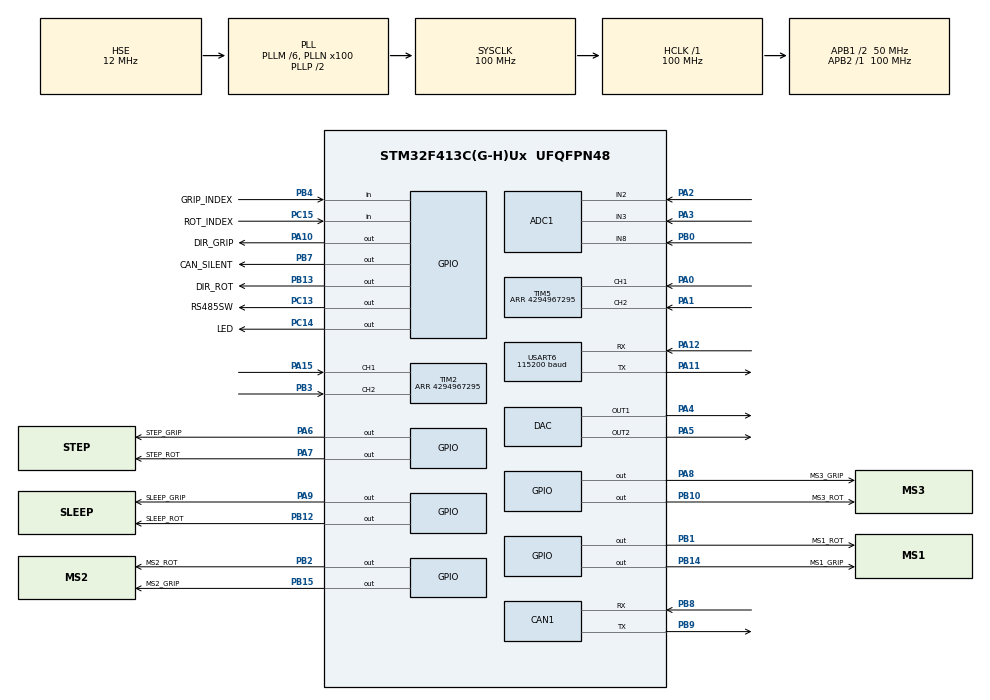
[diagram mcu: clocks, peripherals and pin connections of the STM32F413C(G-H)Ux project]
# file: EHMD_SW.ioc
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ADC1.Channel-0\#ChannelRegularConversion=ADC_CHANNEL_2
ADC1.Channel-1\#ChannelRegularConversion=ADC_CHANNEL_3
ADC1.Channel-2\#ChannelRegularConversion=ADC_CHANNEL_8
ADC1.Channel-3\#ChannelRegularConversion=ADC_CHANNEL_TEMPSENSOR
ADC1.ClockPrescaler=ADC_CLOCK_SYNC_PCLK_DIV8
ADC1.ContinuousConvMode=ENABLE
ADC1.DMAContinuousRequests=ENABLE
ADC1.NbrOfConversion=4
ADC1.NbrOfConversionFlag=1
ADC1.Rank-0\#ChannelRegularConversion=1
ADC1.Rank-1\#ChannelRegularConversion=2
ADC1.Rank-2\#ChannelRegularConversion=3
ADC1.Rank-3\#ChannelRegularConversion=4
ADC1.SamplingTime-0\#ChannelRegularConversion=ADC_SAMPLETIME_480CYCLES
ADC1.SamplingTime-1\#ChannelRegularConversion=ADC_SAMPLETIME_480CYCLES
ADC1.SamplingTime-2\#ChannelRegularConversion=ADC_SAMPLETIME_480CYCLES
ADC1.SamplingTime-3\#ChannelRegularConversion=ADC_SAMPLETIME_480CYCLES
ADC1.ScanConvMode=ENABLE
ADC1.master=1
CAN1.BS1=CAN_BS1_16TQ
CAN1.BS2=CAN_BS2_2TQ
CAN1.CalculateTimeQuantum=320.0
CAN1.SJW=CAN_SJW_2TQ
Dma.ADC1.0.Direction=DMA_PERIPH_TO_MEMORY
Dma.ADC1.0.FIFOMode=DMA_FIFOMODE_DISABLE
Dma.ADC1.0.Instance=DMA2_Stream0
Dma.ADC1.0.MemDataAlignment=DMA_MDATAALIGN_HALFWORD
Dma.ADC1.0.MemInc=DMA_MINC_ENABLE
Dma.ADC1.0.Mode=DMA_CIRCULAR
Dma.ADC1.0.PeriphDataAlignment=DMA_PDATAALIGN_HALFWORD
Dma.ADC1.0.PeriphInc=DMA_PINC_DISABLE
Dma.ADC1.0.Priority=DMA_PRIORITY_LOW
Dma.Request0=ADC1
Mcu.Family=STM32F4
Mcu.Name=STM32F413C(G-H)Ux
Mcu.Package=UFQFPN48
NVIC.DMA2_Stream0_IRQn=true\:0\:0\:false\:false\:true\:false
NVIC.PriorityGroup=NVIC_PRIORITYGROUP_4
NVIC.TIM1_UP_TIM10_IRQn=true\:0\:0\:false\:false\:true\:true
NVIC.USART6_IRQn=true\:0\:0\:false\:false\:true\:true
PA0.Signal=S_TIM5_CH1
PA1.Signal=S_TIM5_CH2
PA10.GPIO_Label=DIR_GRIP
PA10.Signal=GPIO_Output
PA11.Mode=Asynchronous
PA11.Signal=USART6_TX
PA12.Mode=Asynchronous
PA12.Signal=USART6_RX
PA13.Mode=Serial_Wire
PA13.Signal=SYS_JTMS-SWDIO
PA14.Mode=Serial_Wire
PA14.Signal=SYS_JTCK-SWCLK
PA15.Signal=S_TIM2_CH1_ETR
PA2.Signal=ADCx_IN2
PA3.Signal=ADCx_IN3
PA4.Signal=COMP_DAC1_group
PA5.Signal=COMP_DAC2_group
PA6.GPIO_Label=STEP_GRIP
PA6.Signal=GPIO_Output
PA7.GPIO_Label=STEP_ROT
PA7.Signal=GPIO_Output
PA8.GPIO_Label=MS3_GRIP
PA8.Signal=GPIO_Output
PA9.GPIO_Label=SLEEP_GRIP
PA9.Signal=GPIO_Output
PB0.Signal=ADCx_IN8
PB1.GPIO_Label=MS1_ROT
PB1.Signal=GPIO_Output
PB10.GPIO_Label=MS3_ROT
PB10.Signal=GPIO_Output
PB12.GPIO_Label=SLEEP_ROT
PB12.Signal=GPIO_Output
PB13.GPIO_Label=DIR_ROT
PB13.Signal=GPIO_Output
PB14.GPIO_Label=MS1_GRIP
PB14.Signal=GPIO_Output
PB15.GPIO_Label=MS2_GRIP
PB15.Signal=GPIO_Output
PB2.GPIO_Label=MS2_ROT
PB2.Signal=GPIO_Output
PB3.Signal=S_TIM2_CH2
PB4.GPIO_Label=GRIP_INDEX
PB4.Signal=GPIO_Input
PB7.GPIO_Label=CAN_SILENT
PB7.Signal=GPIO_Output
PB8.Mode=Master
PB8.Signal=CAN1_RX
PB9.Mode=Master
PB9.Signal=CAN1_TX
PC13.GPIO_Label=RS485SW
PC13.Signal=GPIO_Output
PC14-OSC32_IN.GPIO_Label=LED
PC14-OSC32_IN.Signal=GPIO_Output
PC15-OSC32_OUT.GPIO_Label=ROT_INDEX
PC15-OSC32_OUT.Signal=GPIO_Input
PH0\ -\ OSC_IN.Mode=HSE-External-Oscillator
PH0\ -\ OSC_IN.Signal=RCC_OSC_IN
PH1\ -\ OSC_OUT.Mode=HSE-External-Oscillator
PH1\ -\ OSC_OUT.Signal=RCC_OSC_OUT
ProjectManager.HeapSize=0x200
ProjectManager.StackSize=0x400
ProjectManager.TargetToolchain=TrueSTUDIO
RCC.AHBFreq_Value=100000000
RCC.APB1CLKDivider=RCC_HCLK_DIV2
RCC.APB1Freq_Value=50000000
RCC.APB1TimFreq_Value=100000000
RCC.APB2Freq_Value=100000000
RCC.APB2TimFreq_Value=100000000
RCC.CortexFreq_Value=100000000
RCC.EnbaleCSS=true
RCC.HCLKFreq_Value=100000000
RCC.HSE_VALUE=12000000
RCC.PLLM=6
RCC.PLLN=100
RCC.PLLSourceVirtual=RCC_PLLSOURCE_HSE
RCC.SYSCLKFreq_VALUE=100000000
RCC.SYSCLKSource=RCC_SYSCLKSOURCE_PLLCLK
RCC.USBFreq_Value=100000000
RCC.VCOOutputFreq_Value=200000000
SH.ADCx_IN2.0=ADC1_IN2,IN2
SH.ADCx_IN3.0=ADC1_IN3,IN3
SH.ADCx_IN8.0=ADC1_IN8,IN8
SH.COMP_DAC1_group.0=DAC_OUT1,DAC_OUT1
SH.COMP_DAC2_group.0=DAC_OUT2,DAC_OUT2
SH.S_TIM2_CH1_ETR.0=TIM2_CH1,Encoder_Interface
SH.S_TIM2_CH2.0=TIM2_CH2,Encoder_Interface
SH.S_TIM5_CH1.0=TIM5_CH1,Encoder_Interface
SH.S_TIM5_CH2.0=TIM5_CH2,Encoder_Interface
TIM1.Period=2500
TIM1.Prescaler=2
TIM2.EncoderMode=TIM_ENCODERMODE_TI12
TIM2.Period=4294967295
TIM5.EncoderMode=TIM_ENCODERMODE_TI12
TIM5.Period=4294967295
USART6.BaudRate=115200
USART6.VirtualMode=VM_ASYNC
VP_ADC1_TempSens_Input.Mode=IN-TempSens
VP_TIM10_VS_ClockSourceINT.Mode=Enable_Timer
VP_TIM1_VS_ClockSourceINT.Mode=Internal
board=custom

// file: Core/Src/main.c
/* USER CODE BEGIN Header */
/**
  ******************************************************************************
  * @file           : main.c
  * @brief          : Main program body
  ******************************************************************************
  ** This notice applies to any and all portions of this file
  * that are not between comment pairs USER CODE BEGIN and
  * USER CODE END. Other portions of this file, whether
  * inserted by the user or by software development tools
  * are owned by their respective copyright owners.
  *
  * COPYRIGHT(c) 2019 STMicroelectronics
  *
  * Redistribution and use in source and binary forms, with or without modification,
  * are permitted provided that the following conditions are met:
  *   1. Redistributions of source code must retain the above copyright notice,
  *      this list of conditions and the following disclaimer.
  *   2. Redistributions in binary form must reproduce the above copyright notice,
  *      this list of conditions and the following disclaimer in the documentation
  *      and/or other materials provided with the distribution.
  *   3. Neither the name of STMicroelectronics nor the names of its contributors
  *      may be used to endorse or promote products derived from this software
  *      without specific prior written permission.
  *
  * THIS SOFTWARE IS PROVIDED BY THE COPYRIGHT HOLDERS AND CONTRIBUTORS "AS IS"
  * AND ANY EXPRESS OR IMPLIED WARRANTIES, INCLUDING, BUT NOT LIMITED TO, THE
  * IMPLIED WARRANTIES OF MERCHANTABILITY AND FITNESS FOR A PARTICULAR PURPOSE ARE
  * DISCLAIMED. IN NO EVENT SHALL THE COPYRIGHT HOLDER OR CONTRIBUTORS BE LIABLE
  * FOR ANY DIRECT, INDIRECT, INCIDENTAL, SPECIAL, EXEMPLARY, OR CONSEQUENTIAL
  * DAMAGES (INCLUDING, BUT NOT LIMITED TO, PROCUREMENT OF SUBSTITUTE GOODS OR
  * SERVICES; LOSS OF USE, DATA, OR PROFITS; OR BUSINESS INTERRUPTION) HOWEVER
  * CAUSED AND ON ANY THEORY OF LIABILITY, WHETHER IN CONTRACT, STRICT LIABILITY,
  * OR TORT (INCLUDING NEGLIGENCE OR OTHERWISE) ARISING IN ANY WAY OUT OF THE USE
  * OF THIS SOFTWARE, EVEN IF ADVISED OF THE POSSIBILITY OF SUCH DAMAGE.
  *
  ******************************************************************************
  */
/* USER CODE END Header */

#include "main.h"

/* USER CODE BEGIN Includes */
#include <string.h>
#include <stdio.h>

/* USER CODE END Includes */

/* USER CODE BEGIN PD */

 // double timerG = 0;

/* USER CODE END PD */

ADC_HandleTypeDef hadc1;
DMA_HandleTypeDef hdma_adc1;

CAN_HandleTypeDef hcan1;

DAC_HandleTypeDef hdac;

TIM_HandleTypeDef htim1;
TIM_HandleTypeDef htim2;
TIM_HandleTypeDef htim5;
TIM_HandleTypeDef htim10;

UART_HandleTypeDef huart6;

void SystemClock_Config(void);
static void MX_GPIO_Init(void);
static void MX_DMA_Init(void);
static void MX_CAN1_Init(void);
static void MX_USART6_UART_Init(void);
static void MX_TIM5_Init(void);
static void MX_DAC_Init(void);
static void MX_ADC1_Init(void);
static void MX_TIM1_Init(void);
static void MX_TIM10_Init(void);
static void MX_TIM2_Init(void);

/* USER CODE BEGIN 0 */

float dac1_volt = 0.5;
float dac2_volt = 0.5;
uint8_t dac1_byte;
uint8_t dac2_byte;
uint16_t index_rot = 0;
uint16_t index_grip=0;
char rxData[30];
char txData[64] = {'m', 'a', 's', 'a', 'R', 0x00 };
uint8_t rxPointer = 0;
uint8_t rxBuffer;
char rxFlag;

motor_ctx gMotor ;

uint32_t adcCnt = 0;

void HAL_UART_TxCpltCallback(UART_HandleTypeDef *huart);

static uint32_t getDiff(uint16_t* arr, int idx)
{

}

int main(void) {
	/* USER CODE BEGIN 1 */
	int loop_counter = 0;

	int adc0filter=5, adc1filter=5;
	int busyGrip=0, busyRotate=0, initReqFlag = 0;

	memset(&gMotor, 0, sizeof(motor_ctx));
	gMotor.initState = 0;
	test_flag = 0;
	/* USER CODE END 1 */
	/* MCU Configuration--------------------------------------------------------*/
	/* Reset of all peripherals, Initializes the Flash interface and the Systick. */
	HAL_Init();
	/* Configure the system clock */
	SystemClock_Config();
	/* Initialize all configured peripherals */
	MX_GPIO_Init();
	MX_DMA_Init();
	MX_CAN1_Init();
	MX_USART6_UART_Init();
	MX_TIM5_Init();
	MX_DAC_Init();
	MX_ADC1_Init();
	MX_TIM1_Init();
	MX_TIM10_Init();
	MX_TIM2_Init();
	/* USER CODE BEGIN 2 */
	//----------------------------------- Config  PHF \/
	HAL_TIM_Base_Start_IT(&htim1); // Enable IRQ Tim 1
	HAL_DAC_Start(&hdac, DAC_CHANNEL_1);
	HAL_DAC_Start(&hdac, DAC_CHANNEL_2);
	HAL_ADC_Start_DMA(&hadc1, (uint32_t*) gMotor.adc, 4);
	dac1_byte = (uint8_t) ((dac1_volt / 3.3) * 255);
	dac2_byte = (uint8_t) ((dac2_volt / 3.3) * 255);
	HAL_DAC_SetValue(&hdac, DAC_CHANNEL_1, DAC_ALIGN_8B_R, dac1_byte);
	HAL_DAC_SetValue(&hdac, DAC_CHANNEL_2, DAC_ALIGN_8B_R, dac2_byte);
	HAL_UART_Receive_IT(&huart6, &rxBuffer, 1);
	HAL_TIM_Encoder_Start(&htim2, TIM_CHANNEL_ALL);
	HAL_TIM_Encoder_Start(&htim5, TIM_CHANNEL_ALL);
	HAL_GPIO_WritePin(GPIOB, MS1_ROT_Pin, 1);
	HAL_GPIO_WritePin(GPIOB, MS2_ROT_Pin, 1);
	HAL_GPIO_WritePin(GPIOB, MS3_ROT_Pin, 1);
	HAL_GPIO_WritePin(GPIOB, MS1_GRIP_Pin, 1);
	HAL_GPIO_WritePin(GPIOB, MS2_GRIP_Pin, 1);
	HAL_GPIO_WritePin(GPIOA, MS3_GRIP_Pin, 1);

	// pepare motor data
	 char msg[32], help[128];
	 memset(msg, 0, sizeof(msg));
	 memset(help, 0, sizeof(help));

	gMotor.hdac = &hdac;
	gMotor.dac1_volt = dac1_volt;
	gMotor.dac2_volt = dac2_volt;
	//   void HAL_UART_RxCpltCallback(UART_HandleTypeDef *huart)    -  vika podprograma pri napulnen uart bufer ????
	//-------------------------------- Config End   PHF
	/* USER CODE END 2 */
	/* Infinite loop */
	/* USER CODE BEGIN WHILE */
	int requestHelp = 0;
	for (;;) {
		//-------------------------------------------------------------------------------------- PHF
		//	  int a;
		//test1:
		//	a = 0;
		//	goto test1

		if (rxFlag == 1) {
			rxFlag = 0;
			HAL_UART_Receive_IT(&huart6, &rxBuffer, 1);
			rxData[rxPointer] = (char) rxBuffer;
			rxPointer++;
			if (rxPointer >= 29)
				rxPointer = 0;

			if (rxBuffer == 0x0D) {   // call - analyze
				if (!strncmp(rxData, FF_Open, strlen(FF_Open))) {
					OpenMotor(&gMotor);
					memset(rxData, 0, sizeof(rxData));
					test_flag = 1;
//					gMotor.dac1_volt = 38;
//					HAL_DAC_SetValue(gMotor.hdac, DAC_CHANNEL_1, DAC_ALIGN_8B_R, (uint8_t)gMotor.dac1_volt);
					rxPointer = 0;
				} else if (!strncmp(rxData, FF_Close, strlen(FF_Close))) {
					CloseMotor(&gMotor);
					memset(rxData, 0, sizeof(rxData));
					test_flag = 0;
					rxPointer = 0;
				} else if (!strncmp(rxData, FF_Init, strlen(FF_Init))) {
					memset(rxData, 0, sizeof(rxData));
					rxPointer = 0;
					gMotor.initState = 2;
				} else if (!strncmp(rxData, FF_Left, strlen(FF_Left))) {
					int test1, test2;
					FF_parse_args(rxData, &test1, &test2);
					RotateLeft(&gMotor, test1, test2);
					memset(rxData, 0, sizeof(rxData));
					rxPointer = 0;
				} else if (!strncmp(rxData, FF_Right, strlen(FF_Right))) {
					int test1, test2;
					FF_parse_args(rxData, &test1, &test2);
					RotateRight(&gMotor, test1, test2);
					memset(rxData, 0, sizeof(rxData));
					rxPointer = 0;
				} else if (!strncmp(rxData, FF_Help, strlen(FF_Help))) {
					memset(rxData, 0, sizeof(rxData));
					rxPointer = 0;
					requestHelp = 1;
				} else if (!strncmp(rxData, FF_Status, strlen(FF_Status))) {
					MotorStatus(&gMotor);
					memset(rxData, 0, sizeof(rxData));
					rxPointer = 0;
				} else {
					memset(rxData, 0, sizeof(rxData));
					rxPointer = 0;

				}
			}
		}

		InitMotor(&gMotor);

		if (loop_counter > FF_DELAY_COUNTER) {

			if (gMotor.adc[0] < 500)
			{
				adc0filter--;
			}
			else if (gMotor.adc[0] > 600)
			{
				adc0filter++;
			}

			if (gMotor.adc[1] < 500)
			{
				adc1filter--;
			}
			else if (gMotor.adc[1] > 600)
			{
				adc1filter++;
			}

			if (adc0filter > 10)
				adc0filter = 10;
			else if (adc0filter < 0)
				adc0filter = 0;

			if (adc1filter > 10)
				adc1filter = 10;
			else if (adc1filter < 0)
				adc1filter = 0;

			if (gMotor.initState == 1 && gMotor.motorRequests == RequestFree
					&& adc0filter == 10 && busyRotate == 0)
			{
				int volt = (gMotor.adc[0] - 600) / 12;
				busyRotate = 1;
				RotateRight(&gMotor, 6000, volt);
			}

			if (gMotor.initState == 1 && gMotor.motorRequests == RequestFree
								&& adc0filter == 0 && busyRotate == 1)
			{
				busyRotate = 0;
				RotateLeft(&gMotor, -1, -1);
			}

			if (gMotor.initState == 1 && gMotor.motorRequests == RequestFree
											&& adc1filter == 10 && busyGrip == 0)
			{
				busyGrip = 1;
				CloseMotor(&gMotor);
			}

			if (gMotor.initState == 1 && gMotor.motorRequests == RequestFree
														&& adc1filter == 0 && busyGrip == 1)
			{
				busyGrip = 0;
				OpenMotor(&gMotor);
			}

			if (adc0filter == 10 && adc1filter == 10 && gMotor.initState == 0)
			{
				initReqFlag = 1;
			}

			if (adc0filter == 0 && adc1filter == 0 && initReqFlag == 1 && gMotor.initState == 0)
			{
				gMotor.initState = 2;
			}

			loop_counter = 0;
		} else {
			loop_counter++;
		}

		 if (requestHelp)
		 {
			 requestHelp = 0;
			 snprintf(help, sizeof(help),
			 "Commands: status, init, open, close, left/right [Torque 0-150] [Steps 0-30000]\r\n");
			 FF_UPrint(&huart6, help, sizeof(help));
		 }

		if (gMotor.motorRequests == RequestOk)
		{
			gMotor.motorRequests = RequestFree;
			snprintf(msg, sizeof(msg), "Ready Ok!\r\n");
			FF_UPrint(&huart6, msg, sizeof(msg));
		}
		if (gMotor.motorRequests == RequestFailed)
		{
			gMotor.motorRequests = RequestFree;
			snprintf(msg, sizeof(msg), "Failed!\r\n");
			FF_UPrint(&huart6, msg, sizeof(msg));
		}
	}

}

void SystemClock_Config(void)
{
  RCC_OscInitTypeDef RCC_OscInitStruct = {0};
  RCC_ClkInitTypeDef RCC_ClkInitStruct = {0};

  /**Configure the main internal regulator output voltage
  */
  __HAL_RCC_PWR_CLK_ENABLE();
  __HAL_PWR_VOLTAGESCALING_CONFIG(PWR_REGULATOR_VOLTAGE_SCALE1);
  /**Initializes the CPU, AHB and APB busses clocks
  */
  RCC_OscInitStruct.OscillatorType = RCC_OSCILLATORTYPE_HSE;
  RCC_OscInitStruct.HSEState = RCC_HSE_ON;
  RCC_OscInitStruct.PLL.PLLState = RCC_PLL_ON;
  RCC_OscInitStruct.PLL.PLLSource = RCC_PLLSOURCE_HSE;
  RCC_OscInitStruct.PLL.PLLM = 6;
  RCC_OscInitStruct.PLL.PLLN = 100;
  RCC_OscInitStruct.PLL.PLLP = RCC_PLLP_DIV2;
  RCC_OscInitStruct.PLL.PLLQ = 2;
  RCC_OscInitStruct.PLL.PLLR = 2;
  if (HAL_RCC_OscConfig(&RCC_OscInitStruct) != HAL_OK)
  {
    Error_Handler();
  }
  /**Initializes the CPU, AHB and APB busses clocks
  */
  RCC_ClkInitStruct.ClockType = RCC_CLOCKTYPE_HCLK|RCC_CLOCKTYPE_SYSCLK
                              |RCC_CLOCKTYPE_PCLK1|RCC_CLOCKTYPE_PCLK2;
  RCC_ClkInitStruct.SYSCLKSource = RCC_SYSCLKSOURCE_PLLCLK;
  RCC_ClkInitStruct.AHBCLKDivider = RCC_SYSCLK_DIV1;
  RCC_ClkInitStruct.APB1CLKDivider = RCC_HCLK_DIV2;
  RCC_ClkInitStruct.APB2CLKDivider = RCC_HCLK_DIV1;

  if (HAL_RCC_ClockConfig(&RCC_ClkInitStruct, FLASH_LATENCY_3) != HAL_OK)
  {
    Error_Handler();
  }
  /**Enables the Clock Security System
  */
  HAL_RCC_EnableCSS();
}

static void MX_ADC1_Init(void)
{

  ADC_ChannelConfTypeDef sConfig = {0};

  /**Configure the global features of the ADC (Clock, Resolution, Data Alignment and number of conversion)
  */
  hadc1.Instance = ADC1;
  hadc1.Init.ClockPrescaler = ADC_CLOCK_SYNC_PCLK_DIV8;
  hadc1.Init.Resolution = ADC_RESOLUTION_12B;
  hadc1.Init.ScanConvMode = ENABLE;
  hadc1.Init.ContinuousConvMode = ENABLE;
  hadc1.Init.DiscontinuousConvMode = DISABLE;
  hadc1.Init.ExternalTrigConvEdge = ADC_EXTERNALTRIGCONVEDGE_NONE;
  hadc1.Init.ExternalTrigConv = ADC_SOFTWARE_START;
  hadc1.Init.DataAlign = ADC_DATAALIGN_RIGHT;
  hadc1.Init.NbrOfConversion = 4;
  hadc1.Init.DMAContinuousRequests = ENABLE;
  hadc1.Init.EOCSelection = ADC_EOC_SINGLE_CONV;
  if (HAL_ADC_Init(&hadc1) != HAL_OK)
  {
    Error_Handler();
  }
  /**Configure for the selected ADC regular channel its corresponding rank in the sequencer and its sample time.
  */
  sConfig.Channel = ADC_CHANNEL_2;
  sConfig.Rank = 1;
  sConfig.SamplingTime = ADC_SAMPLETIME_480CYCLES;
  if (HAL_ADC_ConfigChannel(&hadc1, &sConfig) != HAL_OK)
  {
    Error_Handler();
  }
  /**Configure for the selected ADC regular channel its corresponding rank in the sequencer and its sample time.
  */
  sConfig.Channel = ADC_CHANNEL_3;
  sConfig.Rank = 2;
  if (HAL_ADC_ConfigChannel(&hadc1, &sConfig) != HAL_OK)
  {
    Error_Handler();
  }
  /**Configure for the selected ADC regular channel its corresponding rank in the sequencer and its sample time.
  */
  sConfig.Channel = ADC_CHANNEL_8;
  sConfig.Rank = 3;
  if (HAL_ADC_ConfigChannel(&hadc1, &sConfig) != HAL_OK)
  {
    Error_Handler();
  }
  /**Configure for the selected ADC regular channel its corresponding rank in the sequencer and its sample time.
  */
  sConfig.Channel = ADC_CHANNEL_TEMPSENSOR;
  sConfig.Rank = 4;
  if (HAL_ADC_ConfigChannel(&hadc1, &sConfig) != HAL_OK)
  {
    Error_Handler();
  }

}

static void MX_CAN1_Init(void)
{

  hcan1.Instance = CAN1;
  hcan1.Init.Prescaler = 16;
  hcan1.Init.Mode = CAN_MODE_NORMAL;
  hcan1.Init.SyncJumpWidth = CAN_SJW_2TQ;
  hcan1.Init.TimeSeg1 = CAN_BS1_16TQ;
  hcan1.Init.TimeSeg2 = CAN_BS2_2TQ;
  hcan1.Init.TimeTriggeredMode = DISABLE;
  hcan1.Init.AutoBusOff = DISABLE;
  hcan1.Init.AutoWakeUp = DISABLE;
  hcan1.Init.AutoRetransmission = DISABLE;
  hcan1.Init.ReceiveFifoLocked = DISABLE;
  hcan1.Init.TransmitFifoPriority = DISABLE;
  if (HAL_CAN_Init(&hcan1) != HAL_OK)
  {
    Error_Handler();
  }

}

static void MX_DAC_Init(void)
{

  DAC_ChannelConfTypeDef sConfig = {0};

  /**DAC Initialization
  */
  hdac.Instance = DAC;
  if (HAL_DAC_Init(&hdac) != HAL_OK)
  {
    Error_Handler();
  }
  /**DAC channel OUT1 config
  */
  sConfig.DAC_Trigger = DAC_TRIGGER_NONE;
  sConfig.DAC_OutputBuffer = DAC_OUTPUTBUFFER_ENABLE;
  if (HAL_DAC_ConfigChannel(&hdac, &sConfig, DAC_CHANNEL_1) != HAL_OK)
  {
    Error_Handler();
  }
  /**DAC channel OUT2 config
  */
  if (HAL_DAC_ConfigChannel(&hdac, &sConfig, DAC_CHANNEL_2) != HAL_OK)
  {
    Error_Handler();
  }

}

static void MX_TIM1_Init(void)
{

  TIM_ClockConfigTypeDef sClockSourceConfig = {0};
  TIM_MasterConfigTypeDef sMasterConfig = {0};

  htim1.Instance = TIM1;
  htim1.Init.Prescaler = 2;
  htim1.Init.CounterMode = TIM_COUNTERMODE_UP;
  htim1.Init.Period = 2500;
  htim1.Init.ClockDivision = TIM_CLOCKDIVISION_DIV1;
  htim1.Init.RepetitionCounter = 0;
  if (HAL_TIM_Base_Init(&htim1) != HAL_OK)
  {
    Error_Handler();
  }
  sClockSourceConfig.ClockSource = TIM_CLOCKSOURCE_INTERNAL;
  if (HAL_TIM_ConfigClockSource(&htim1, &sClockSourceConfig) != HAL_OK)
  {
    Error_Handler();
  }
  sMasterConfig.MasterOutputTrigger = TIM_TRGO_RESET;
  sMasterConfig.MasterSlaveMode = TIM_MASTERSLAVEMODE_DISABLE;
  if (HAL_TIMEx_MasterConfigSynchronization(&htim1, &sMasterConfig) != HAL_OK)
  {
    Error_Handler();
  }

}

static void MX_TIM2_Init(void)
{

  TIM_Encoder_InitTypeDef sConfig = {0};
  TIM_MasterConfigTypeDef sMasterConfig = {0};

  htim2.Instance = TIM2;
  htim2.Init.Prescaler = 0;
  htim2.Init.CounterMode = TIM_COUNTERMODE_UP;
  htim2.Init.Period = 4294967295;
  htim2.Init.ClockDivision = TIM_CLOCKDIVISION_DIV1;
  sConfig.EncoderMode = TIM_ENCODERMODE_TI12;
  sConfig.IC1Polarity = TIM_ICPOLARITY_RISING;
  sConfig.IC1Selection = TIM_ICSELECTION_DIRECTTI;
  sConfig.IC1Prescaler = TIM_ICPSC_DIV1;
  sConfig.IC1Filter = 0;
  sConfig.IC2Polarity = TIM_ICPOLARITY_RISING;
  sConfig.IC2Selection = TIM_ICSELECTION_DIRECTTI;
  sConfig.IC2Prescaler = TIM_ICPSC_DIV1;
  sConfig.IC2Filter = 0;
  if (HAL_TIM_Encoder_Init(&htim2, &sConfig) != HAL_OK)
  {
    Error_Handler();
  }
  sMasterConfig.MasterOutputTrigger = TIM_TRGO_RESET;
  sMasterConfig.MasterSlaveMode = TIM_MASTERSLAVEMODE_DISABLE;
  if (HAL_TIMEx_MasterConfigSynchronization(&htim2, &sMasterConfig) != HAL_OK)
  {
    Error_Handler();
  }

}

static void MX_TIM5_Init(void)
{

  TIM_Encoder_InitTypeDef sConfig = {0};
  TIM_MasterConfigTypeDef sMasterConfig = {0};

  htim5.Instance = TIM5;
  htim5.Init.Prescaler = 0;
  htim5.Init.CounterMode = TIM_COUNTERMODE_UP;
  htim5.Init.Period = 4294967295;
  htim5.Init.ClockDivision = TIM_CLOCKDIVISION_DIV1;
  sConfig.EncoderMode = TIM_ENCODERMODE_TI12;
  sConfig.IC1Polarity = TIM_ICPOLARITY_RISING;
  sConfig.IC1Selection = TIM_ICSELECTION_DIRECTTI;
  sConfig.IC1Prescaler = TIM_ICPSC_DIV1;
  sConfig.IC1Filter = 0;
  sConfig.IC2Polarity = TIM_ICPOLARITY_RISING;
  sConfig.IC2Selection = TIM_ICSELECTION_DIRECTTI;
  sConfig.IC2Prescaler = TIM_ICPSC_DIV1;
  sConfig.IC2Filter = 0;
  if (HAL_TIM_Encoder_Init(&htim5, &sConfig) != HAL_OK)
  {
    Error_Handler();
  }
  sMasterConfig.MasterOutputTrigger = TIM_TRGO_RESET;
  sMasterConfig.MasterSlaveMode = TIM_MASTERSLAVEMODE_DISABLE;
  if (HAL_TIMEx_MasterConfigSynchronization(&htim5, &sMasterConfig) != HAL_OK)
  {
    Error_Handler();
  }

}

static void MX_TIM10_Init(void)
{

  htim10.Instance = TIM10;
  htim10.Init.Prescaler = 0;
  htim10.Init.CounterMode = TIM_COUNTERMODE_UP;
  htim10.Init.Period = 0;
  htim10.Init.ClockDivision = TIM_CLOCKDIVISION_DIV1;
  if (HAL_TIM_Base_Init(&htim10) != HAL_OK)
  {
    Error_Handler();
  }

}

static void MX_USART6_UART_Init(void)
{

  huart6.Instance = USART6;
  huart6.Init.BaudRate = 115200;
  huart6.Init.WordLength = UART_WORDLENGTH_8B;
  huart6.Init.StopBits = UART_STOPBITS_1;
  huart6.Init.Parity = UART_PARITY_NONE;
  huart6.Init.Mode = UART_MODE_TX_RX;
  huart6.Init.HwFlowCtl = UART_HWCONTROL_NONE;
  huart6.Init.OverSampling = UART_OVERSAMPLING_16;
  if (HAL_UART_Init(&huart6) != HAL_OK)
  {
    Error_Handler();
  }

}

static void MX_DMA_Init(void)
{
  /* DMA controller clock enable */
  __HAL_RCC_DMA2_CLK_ENABLE();

  /* DMA interrupt init */
  /* DMA2_Stream0_IRQn interrupt configuration */
  HAL_NVIC_SetPriority(DMA2_Stream0_IRQn, 0, 0);
  HAL_NVIC_EnableIRQ(DMA2_Stream0_IRQn);

}

static void MX_GPIO_Init(void)
{
  GPIO_InitTypeDef GPIO_InitStruct = {0};

  /* GPIO Ports Clock Enable */
  __HAL_RCC_GPIOC_CLK_ENABLE();
  __HAL_RCC_GPIOH_CLK_ENABLE();
  __HAL_RCC_GPIOA_CLK_ENABLE();
  __HAL_RCC_GPIOB_CLK_ENABLE();

  /*Configure GPIO pin Output Level */
  HAL_GPIO_WritePin(GPIOC, RS485SW_Pin|LED_Pin, GPIO_PIN_RESET);

  /*Configure GPIO pin Output Level */
  HAL_GPIO_WritePin(GPIOA, STEP_GRIP_Pin|STEP_ROT_Pin|MS3_GRIP_Pin|SLEEP_GRIP_Pin
                          |DIR_GRIP_Pin, GPIO_PIN_RESET);

  /*Configure GPIO pin Output Level */
  HAL_GPIO_WritePin(GPIOB, MS1_ROT_Pin|MS2_ROT_Pin|MS3_ROT_Pin|SLEEP_ROT_Pin
                          |DIR_ROT_Pin|MS1_GRIP_Pin|MS2_GRIP_Pin|CAN_SILENT_Pin, GPIO_PIN_RESET);

  /*Configure GPIO pins : RS485SW_Pin LED_Pin */
  GPIO_InitStruct.Pin = RS485SW_Pin|LED_Pin;
  GPIO_InitStruct.Mode = GPIO_MODE_OUTPUT_PP;
  GPIO_InitStruct.Pull = GPIO_NOPULL;
  GPIO_InitStruct.Speed = GPIO_SPEED_FREQ_LOW;
  HAL_GPIO_Init(GPIOC, &GPIO_InitStruct);

  /*Configure GPIO pin : ROT_INDEX_Pin */
  GPIO_InitStruct.Pin = ROT_INDEX_Pin;
  GPIO_InitStruct.Mode = GPIO_MODE_INPUT;
  GPIO_InitStruct.Pull = GPIO_NOPULL;
  HAL_GPIO_Init(ROT_INDEX_GPIO_Port, &GPIO_InitStruct);

  /*Configure GPIO pins : STEP_GRIP_Pin STEP_ROT_Pin MS3_GRIP_Pin SLEEP_GRIP_Pin
                           DIR_GRIP_Pin */
  GPIO_InitStruct.Pin = STEP_GRIP_Pin|STEP_ROT_Pin|MS3_GRIP_Pin|SLEEP_GRIP_Pin
                          |DIR_GRIP_Pin;
  GPIO_InitStruct.Mode = GPIO_MODE_OUTPUT_PP;
  GPIO_InitStruct.Pull = GPIO_NOPULL;
  GPIO_InitStruct.Speed = GPIO_SPEED_FREQ_LOW;
  HAL_GPIO_Init(GPIOA, &GPIO_InitStruct);

  /*Configure GPIO pins : MS1_ROT_Pin MS2_ROT_Pin MS3_ROT_Pin SLEEP_ROT_Pin
                           DIR_ROT_Pin MS1_GRIP_Pin MS2_GRIP_Pin CAN_SILENT_Pin */
  GPIO_InitStruct.Pin = MS1_ROT_Pin|MS2_ROT_Pin|MS3_ROT_Pin|SLEEP_ROT_Pin
                          |DIR_ROT_Pin|MS1_GRIP_Pin|MS2_GRIP_Pin|CAN_SILENT_Pin;
  GPIO_InitStruct.Mode = GPIO_MODE_OUTPUT_PP;
  GPIO_InitStruct.Pull = GPIO_NOPULL;
  GPIO_InitStruct.Speed = GPIO_SPEED_FREQ_LOW;
  HAL_GPIO_Init(GPIOB, &GPIO_InitStruct);

  /*Configure GPIO pin : GRIP_INDEX_Pin */
  GPIO_InitStruct.Pin = GRIP_INDEX_Pin;
  GPIO_InitStruct.Mode = GPIO_MODE_INPUT;
  GPIO_InitStruct.Pull = GPIO_NOPULL;
  HAL_GPIO_Init(GRIP_INDEX_GPIO_Port, &GPIO_InitStruct);

}

/* USER CODE BEGIN 4 */
void HAL_UART_TxCpltCallback(UART_HandleTypeDef *huart)
{
	if(huart == &huart6)
		HAL_GPIO_WritePin(GPIOC, RS485SW_Pin, 0);
}

/* USER CODE END 4 */

void Error_Handler(void)
{
}

/************************ (C) COPYRIGHT STMicroelectronics *****END OF FILE****/
